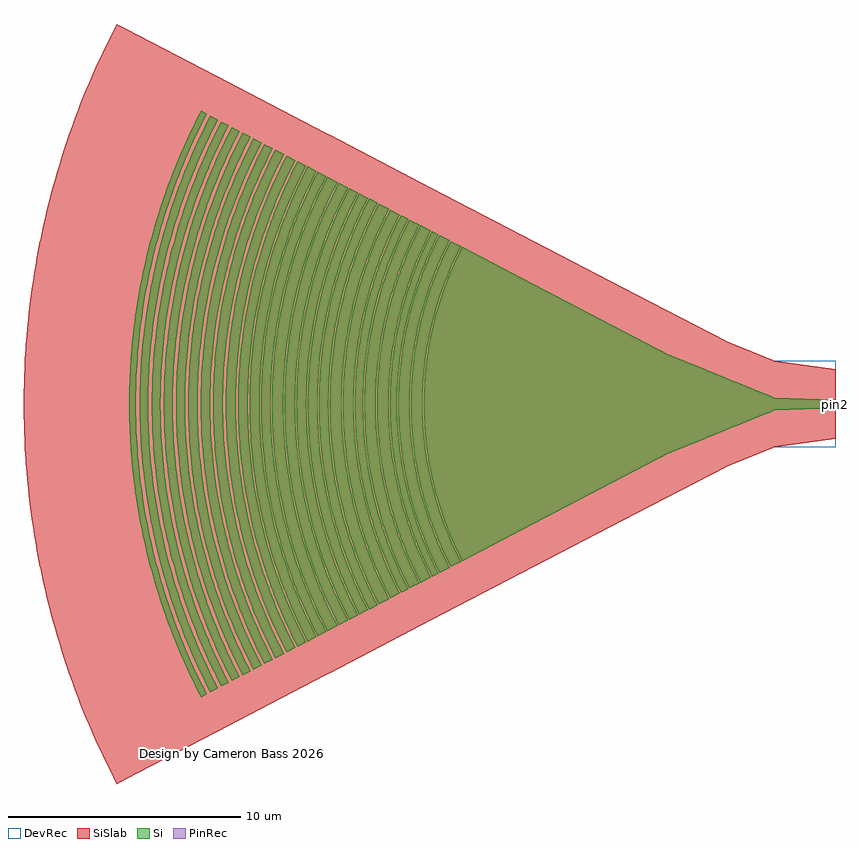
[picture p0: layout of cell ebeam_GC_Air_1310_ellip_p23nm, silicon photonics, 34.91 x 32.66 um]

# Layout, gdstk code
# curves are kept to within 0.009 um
import gdstk
lib = gdstk.Library(unit=1e-6, precision=1e-09)
def P(c, l, *ps):  # polygons
    for p in ps: c.add(gdstk.Polygon(p, *l))
Si = (1, 0)
PinRec = (1, 10)
SiSlab = (2, 0)
DevRec = (68, 0)

ebeam_gc_air_1310_ellip_ = lib.new_cell('ebeam_GC_Air_1310_ellip_p23nm')
P(ebeam_gc_air_1310_ellip_, Si, [(-16.058,-6.747),(-16.431,-5.978),(-16.806,-5.061),(-17.035,-4.391),(-17.3,-3.437),(-17.477,-2.605),(-17.604,-1.766),(-17.682,-0.919),(-17.71,-0.071),(-17.682,0.919),(-17.604,1.766),(-17.477,2.606),(-17.3,3.436),(-17.035,4.391),(-16.806,5.061),(-16.431,5.978),(-16.058,6.747),(-7.083,2.078),(-2.648,0.273),(0,0.175),(0,-0.175),(-2.67,-0.279),(-2.837,-0.358),(-3.177,-0.485),(-7.083,-2.078)],
  [(-16.55,-7.002),(-16.934,-6.208),(-17.272,-5.393),(-17.561,-4.56),(-17.801,-3.712),(-17.993,-2.85),(-18.133,-1.979),(-18.232,-0.956),(-18.262,-0.073),(-18.241,0.808),(-18.151,1.834),(-18.02,2.706),(-17.836,3.568),(-17.727,3.996),(-17.561,4.56),(-17.272,5.393),(-16.934,6.208),(-16.55,7.003),(-16.106,6.772),(-16.48,6),(-16.807,5.213),(-17.086,4.408),(-17.319,3.587),(-17.418,3.173),(-17.529,2.616),(-17.657,1.772),(-17.744,0.782),(-17.764,0.071),(-17.744,-0.782),(-17.657,-1.772),(-17.529,-2.615),(-17.353,-3.45),(-17.086,-4.408),(-16.807,-5.213),(-16.48,-6),(-16.106,-6.772)],
  [(-17.031,-7.253),(-17.428,-6.432),(-17.777,-5.588),(-18.077,-4.725),(-18.326,-3.846),(-18.524,-2.953),(-18.669,-2.051),(-18.762,-1.142),(-18.789,-0.685),(-18.803,-0.076),(-18.781,0.837),(-18.737,1.445),(-18.688,1.9),(-18.552,2.803),(-18.464,3.252),(-18.326,3.846),(-18.077,4.725),(-17.778,5.588),(-17.428,6.432),(-17.031,7.253),(-16.597,7.028),(-16.983,6.231),(-17.322,5.413),(-17.612,4.577),(-17.89,3.581),(-18.072,2.716),(-18.205,1.84),(-18.286,0.958),(-18.316,0.074),(-18.295,-0.811),(-18.205,-1.84),(-18.072,-2.716),(-17.89,-3.581),(-17.656,-4.435),(-17.373,-5.275),(-17.043,-6.096),(-16.597,-7.028)],
  [(-17.351,-7.42),(-17.56,-7.005),(-17.82,-6.438),(-18.17,-5.571),(-18.421,-4.834),(-18.676,-3.935),(-18.879,-3.021),(-18.96,-2.561),(-19.047,-1.944),(-19.133,-1.012),(-19.164,-0.078),(-19.142,0.857),(-19.047,1.944),(-18.907,2.868),(-18.713,3.783),(-18.467,4.685),(-18.17,5.571),(-17.757,6.581),(-17.351,7.42),(-17.079,7.278),(-17.539,6.315),(-17.773,5.75),(-17.933,5.321),(-18.082,4.887),(-18.26,4.302),(-18.379,3.859),(-18.517,3.263),(-18.68,2.36),(-18.776,1.602),(-18.835,0.841),(-18.857,0.077),(-18.842,-0.688),(-18.791,-1.45),(-18.68,-2.36),(-18.547,-3.113),(-18.451,-3.562),(-18.301,-4.154),(-18.174,-4.595),(-17.984,-5.176),(-17.773,-5.75),(-17.539,-6.315),(-17.079,-7.278)],
  [(-17.847,-7.678),(-18.266,-6.81),(-18.518,-6.218),(-18.693,-5.766),(-19.001,-4.849),(-19.255,-3.915),(-19.456,-2.968),(-19.6,-2.012),(-19.689,-1.047),(-19.722,-0.08),(-19.698,0.887),(-19.619,1.852),(-19.484,2.81),(-19.363,3.444),(-19.255,3.915),(-19.001,4.849),(-18.693,5.766),(-18.266,6.811),(-17.847,7.678),(-17.399,7.445),(-17.87,6.461),(-18.165,5.737),(-18.473,4.85),(-18.729,3.948),(-18.837,3.491),(-18.96,2.878),(-19.1,1.95),(-19.164,1.328),(-19.196,0.86),(-19.218,0.078),(-19.196,-0.86),(-19.164,-1.328),(-19.1,-1.95),(-18.96,-2.878),(-18.766,-3.796),(-18.473,-4.85),(-18.164,-5.737),(-17.806,-6.604),(-17.399,-7.445)],
  [(-18.327,-7.928),(-18.76,-7.032),(-19.02,-6.42),(-19.2,-5.954),(-19.519,-5.007),(-19.781,-4.043),(-19.988,-3.065),(-20.138,-2.077),(-20.229,-1.083),(-20.263,-0.083),(-20.239,0.916),(-20.157,1.911),(-20.017,2.901),(-19.82,3.881),(-19.657,4.527),(-19.519,5.007),(-19.2,5.954),(-19.02,6.42),(-18.76,7.033),(-18.327,7.928),(-17.896,7.704),(-18.317,6.834),(-18.688,5.937),(-18.906,5.327),(-19.054,4.865),(-19.31,3.928),(-19.51,2.978),(-19.655,2.018),(-19.745,1.051),(-19.778,0.081),(-19.754,-0.89),(-19.674,-1.857),(-19.538,-2.819),(-19.31,-3.927),(-19.054,-4.864),(-18.744,-5.785),(-18.382,-6.686),(-17.896,-7.704)],
  [(-18.689,-8.116),(-19.132,-7.199),(-19.399,-6.572),(-19.583,-6.095),(-19.909,-5.126),(-20.178,-4.138),(-20.39,-3.138),(-20.543,-2.126),(-20.637,-1.107),(-20.671,-0.085),(-20.647,0.937),(-20.563,1.958),(-20.42,2.97),(-20.292,3.64),(-20.178,4.138),(-19.909,5.126),(-19.583,6.095),(-19.201,7.044),(-18.99,7.51),(-18.689,8.116),(-18.375,7.954),(-18.81,7.055),(-19.193,6.13),(-19.522,5.182),(-19.665,4.703),(-19.835,4.056),(-20.042,3.075),(-20.192,2.084),(-20.284,1.085),(-20.318,0.084),(-20.294,-0.919),(-20.229,-1.752),(-20.124,-2.58),(-19.979,-3.403),(-19.874,-3.893),(-19.71,-4.541),(-19.522,-5.182),(-19.364,-5.658),(-19.133,-6.285),(-18.944,-6.749),(-18.67,-7.359),(-18.375,-7.953)],
  [(-19.147,-8.355),(-19.603,-7.412),(-19.878,-6.766),(-20.068,-6.275),(-20.403,-5.277),(-20.638,-4.431),(-20.866,-3.403),(-21.034,-2.363),(-21.112,-1.665),(-21.152,-1.14),(-21.188,-0.088),(-21.178,0.615),(-21.152,1.14),(-21.056,2.189),(-20.898,3.23),(-20.68,4.26),(-20.403,5.277),(-20.068,6.275),(-19.674,7.252),(-19.457,7.731),(-19.147,8.355),(-18.738,8.142),(-19.183,7.222),(-19.575,6.274),(-19.75,5.792),(-19.962,5.141),(-20.233,4.151),(-20.444,3.148),(-20.598,2.133),(-20.692,1.111),(-20.727,0.086),(-20.702,-0.941),(-20.618,-1.963),(-20.474,-2.979),(-20.38,-3.483),(-20.233,-4.151),(-19.962,-5.141),(-19.634,-6.114),(-19.252,-7.066),(-19.04,-7.533),(-18.738,-8.142)],
  [(-19.646,-8.615),(-20.114,-7.645),(-20.529,-6.642),(-20.885,-5.616),(-21.181,-4.571),(-21.416,-3.51),(-21.589,-2.438),(-21.699,-1.357),(-21.73,-0.815),(-21.748,-0.09),(-21.722,0.995),(-21.632,2.079),(-21.481,3.154),(-21.345,3.865),(-21.224,4.395),(-20.939,5.443),(-20.593,6.472),(-20.187,7.48),(-19.963,7.975),(-19.646,8.615),(-19.196,8.381),(-19.653,7.435),(-20.058,6.459),(-20.294,5.796),(-20.456,5.293),(-20.734,4.274),(-20.952,3.24),(-21.11,2.196),(-21.207,1.143),(-21.243,0.088),(-21.238,-0.44),(-21.207,-1.143),(-21.11,-2.195),(-20.952,-3.24),(-20.734,-4.274),(-20.456,-5.292),(-20.294,-5.796),(-20.058,-6.459),(-19.653,-7.435),(-19.196,-8.381)],
  [(-20.061,-8.831),(-20.542,-7.835),(-20.967,-6.807),(-21.333,-5.755),(-21.636,-4.684),(-21.877,-3.597),(-22.054,-2.498),(-22.167,-1.391),(-22.199,-0.835),(-22.217,-0.093),(-22.19,1.02),(-22.099,2.13),(-22.029,2.682),(-21.911,3.415),(-21.68,4.504),(-21.387,5.578),(-21.033,6.633),(-20.617,7.666),(-20.387,8.173),(-20.061,8.831),(-19.698,8.642),(-19.938,8.162),(-20.242,7.503),(-20.585,6.662),(-20.942,5.633),(-21.239,4.584),(-21.474,3.521),(-21.568,2.984),(-21.67,2.265),(-21.77,1.179),(-21.807,0.091),(-21.781,-0.999),(-21.744,-1.542),(-21.67,-2.264),(-21.507,-3.342),(-21.282,-4.408),(-20.995,-5.459),(-20.648,-6.492),(-20.242,-7.502),(-19.938,-8.162),(-19.698,-8.642)],
  [(-20.481,-9.05),(-20.975,-8.028),(-21.411,-6.974),(-21.785,-5.897),(-22.096,-4.8),(-22.227,-4.244),(-22.378,-3.499),(-22.548,-2.371),(-22.653,-1.235),(-22.692,-0.095),(-22.664,1.045),(-22.57,2.183),(-22.411,3.312),(-22.307,3.873),(-22.141,4.615),(-21.841,5.716),(-21.478,6.796),(-21.052,7.854),(-20.735,8.545),(-20.481,9.05),(-20.11,8.857),(-20.593,7.858),(-21.02,6.827),(-21.385,5.772),(-21.595,5.058),(-21.735,4.516),(-21.965,3.425),(-22.132,2.321),(-22.234,1.209),(-22.272,0.093),(-22.245,-1.023),(-22.191,-1.766),(-22.132,-2.32),(-21.965,-3.425),(-21.735,-4.516),(-21.595,-5.058),(-21.385,-5.772),(-21.02,-6.826),(-20.593,-7.858),(-20.11,-8.857)],
  [(-20.916,-9.276),(-21.423,-8.227),(-21.728,-7.51),(-21.939,-6.964),(-22.311,-5.857),(-22.572,-4.919),(-22.706,-4.349),(-22.861,-3.585),(-23.036,-2.43),(-23.143,-1.265),(-23.182,-0.097),(-23.177,0.488),(-23.143,1.265),(-23.036,2.43),(-22.861,3.586),(-22.618,4.729),(-22.311,5.857),(-21.939,6.965),(-21.502,8.049),(-21.176,8.757),(-20.916,9.276),(-20.534,9.077),(-21.03,8.05),(-21.468,6.994),(-21.843,5.913),(-22.007,5.366),(-22.201,4.627),(-22.437,3.509),(-22.608,2.378),(-22.713,1.238),(-22.752,0.096),(-22.741,-0.667),(-22.713,-1.238),(-22.608,-2.377),(-22.437,-3.509),(-22.201,-4.627),(-22.007,-5.366),(-21.843,-5.913),(-21.468,-6.994),(-21.03,-8.05),(-20.534,-9.077)],
  [(-21.367,-9.511),(-21.72,-8.8),(-21.967,-8.253),(-22.415,-7.142),(-22.797,-6.006),(-23.112,-4.85),(-23.361,-3.677),(-23.54,-2.492),(-23.65,-1.297),(-23.679,-0.699),(-23.69,-0.1),(-23.685,0.5),(-23.65,1.298),(-23.54,2.492),(-23.361,3.677),(-23.112,4.849),(-22.797,6.006),(-22.415,7.142),(-21.967,8.254),(-21.72,8.8),(-21.367,9.511),(-20.964,9.301),(-21.473,8.249),(-21.922,7.167),(-22.306,6.059),(-22.474,5.498),(-22.672,4.741),(-22.802,4.17),(-22.914,3.595),(-23.09,2.436),(-23.197,1.269),(-23.226,0.684),(-23.237,0.098),(-23.209,-1.074),(-23.152,-1.854),(-23.09,-2.436),(-22.914,-3.595),(-22.672,-4.742),(-22.474,-5.498),(-22.306,-6.059),(-21.922,-7.166),(-21.473,-8.249),(-20.964,-9.301)],
  [(-21.855,-9.764),(-22.127,-9.222),(-22.469,-8.476),(-22.929,-7.334),(-23.261,-6.364),(-23.596,-5.18),(-23.782,-4.38),(-23.9,-3.776),(-24.084,-2.559),(-24.197,-1.333),(-24.227,-0.718),(-24.238,-0.102),(-24.209,1.128),(-24.108,2.356),(-24.001,3.168),(-23.9,3.776),(-23.782,4.38),(-23.645,4.98),(-23.492,5.577),(-23.321,6.168),(-23.134,6.754),(-22.929,7.335),(-22.63,8.099),(-22.386,8.664),(-22.127,9.222),(-21.855,9.765),(-21.415,9.536),(-21.936,8.458),(-22.396,7.349),(-22.79,6.213),(-23.016,5.445),(-23.166,4.863),(-23.299,4.276),(-23.414,3.687),(-23.594,2.498),(-23.658,1.901),(-23.704,1.302),(-23.745,0.1),(-23.716,-1.102),(-23.658,-1.901),(-23.594,-2.498),(-23.414,-3.687),(-23.166,-4.863),(-22.849,-6.022),(-22.466,-7.161),(-22.017,-8.276),(-21.769,-8.823),(-21.415,-9.536)],
  [(-22.269,-9.98),(-22.547,-9.425),(-22.897,-8.663),(-23.367,-7.496),(-23.768,-6.304),(-24.099,-5.09),(-24.281,-4.272),(-24.359,-3.859),(-24.462,-3.239),(-24.547,-2.615),(-24.663,-1.363),(-24.705,-0.105),(-24.675,1.153),(-24.572,2.407),(-24.493,3.031),(-24.396,3.653),(-24.281,4.272),(-24.099,5.09),(-23.768,6.304),(-23.576,6.903),(-23.367,7.496),(-23.14,8.084),(-22.897,8.663),(-22.547,9.425),(-22.269,9.98),(-21.903,9.79),(-22.264,9.06),(-22.519,8.499),(-22.834,7.738),(-23.05,7.16),(-23.25,6.577),(-23.489,5.79),(-23.649,5.193),(-23.835,4.391),(-24.054,3.176),(-24.183,2.157),(-24.263,1.131),(-24.293,0.103),(-24.287,-0.515),(-24.263,-1.131),(-24.183,-2.157),(-24.054,-3.177),(-23.835,-4.391),(-23.649,-5.193),(-23.489,-5.789),(-23.25,-6.576),(-23.05,-7.16),(-22.834,-7.738),(-22.519,-8.498),(-22.264,-9.06),(-21.903,-9.79)],
  [(-22.703,-10.206),(-22.989,-9.637),(-23.26,-9.053),(-23.515,-8.463),(-23.753,-7.865),(-23.972,-7.261),(-24.174,-6.65),(-24.416,-5.827),(-24.576,-5.204),(-24.719,-4.577),(-24.842,-3.946),(-24.948,-3.312),(-25.035,-2.674),(-25.103,-2.034),(-25.153,-1.392),(-25.184,-0.751),(-25.196,-0.107),(-25.19,0.536),(-25.165,1.179),(-25.122,1.821),(-25.06,2.461),(-24.979,3.099),(-24.88,3.735),(-24.762,4.368),(-24.576,5.204),(-24.416,5.827),(-24.237,6.446),(-23.828,7.665),(-23.596,8.265),(-23.347,8.858),(-22.989,9.637),(-22.703,10.206),(-22.32,10.007),(-22.69,9.26),(-22.951,8.686),(-23.273,7.908),(-23.493,7.318),(-23.762,6.521),(-23.942,5.917),(-24.106,5.307),(-24.296,4.488),(-24.487,3.455),(-24.63,2.413),(-24.721,1.365),(-24.752,0.736),(-24.764,0.105),(-24.744,-0.946),(-24.652,-2.204),(-24.52,-3.246),(-24.337,-4.283),(-24.205,-4.899),(-23.999,-5.714),(-23.762,-6.521),(-23.563,-7.12),(-23.273,-7.908),(-22.951,-8.686),(-22.69,-9.26),(-22.32,-10.007)],
  [(-23.135,-10.431),(-23.525,-9.647),(-23.796,-9.048),(-24.05,-8.443),(-24.288,-7.829),(-24.642,-6.793),(-24.83,-6.163),(-25,-5.529),(-25.285,-4.246),(-25.399,-3.599),(-25.494,-2.949),(-25.57,-2.296),(-25.642,-1.423),(-25.674,-0.767),(-25.686,-0.109),(-25.68,0.547),(-25.655,1.204),(-25.61,1.86),(-25.547,2.514),(-25.464,3.166),(-25.325,4.031),(-25.198,4.676),(-25.052,5.316),(-24.888,5.953),(-24.706,6.584),(-24.506,7.21),(-24.288,7.83),(-23.796,9.048),(-23.525,9.647),(-23.135,10.431),(-22.768,10.241),(-23.148,9.472),(-23.501,8.688),(-23.745,8.09),(-23.97,7.486),(-24.245,6.671),(-24.43,6.053),(-24.649,5.22),(-24.792,4.591),(-24.988,3.534),(-25.081,2.896),(-25.156,2.255),(-25.239,1.183),(-25.271,0.108),(-25.25,-0.968),(-25.156,-2.255),(-24.988,-3.534),(-24.792,-4.591),(-24.649,-5.22),(-24.43,-6.053),(-24.245,-6.671),(-23.97,-7.486),(-23.745,-8.09),(-23.415,-8.885),(-23.148,-9.472),(-22.768,-10.24)],
  [(-23.604,-10.676),(-23.909,-10.069),(-24.193,-9.461),(-24.544,-8.636),(-24.787,-8.009),(-25.149,-6.949),(-25.342,-6.304),(-25.516,-5.656),(-25.671,-5.001),(-25.807,-4.343),(-25.959,-3.459),(-26.05,-2.794),(-26.121,-2.125),(-26.173,-1.456),(-26.206,-0.784),(-26.219,-0.112),(-26.212,0.561),(-26.186,1.232),(-26.141,1.903),(-26.076,2.572),(-25.991,3.238),(-25.887,3.903),(-25.719,4.783),(-25.569,5.438),(-25.402,6.089),(-25.215,6.735),(-25.01,7.375),(-24.787,8.009),(-24.544,8.636),(-24.284,9.255),(-24.006,9.868),(-23.604,10.676),(-23.226,10.479),(-23.523,9.887),(-23.891,9.088),(-24.228,8.275),(-24.459,7.657),(-24.673,7.033),(-24.93,6.191),(-25.154,5.339),(-25.3,4.696),(-25.501,3.614),(-25.65,2.524),(-25.713,1.868),(-25.758,1.21),(-25.79,0.11),(-25.769,-0.99),(-25.731,-1.648),(-25.673,-2.306),(-25.535,-3.397),(-25.3,-4.696),(-25.154,-5.34),(-24.93,-6.191),(-24.673,-7.032),(-24.459,-7.656),(-24.228,-8.275),(-23.891,-9.088),(-23.523,-9.887),(-23.226,-10.479)],
  [(-24.087,-10.927),(-24.598,-9.887),(-24.965,-9.046),(-25.219,-8.407),(-25.455,-7.762),(-25.671,-7.108),(-25.868,-6.449),(-26.046,-5.786),(-26.205,-5.116),(-26.345,-4.443),(-26.5,-3.539),(-26.593,-2.858),(-26.666,-2.174),(-26.719,-1.489),(-26.753,-0.802),(-26.766,-0.114),(-26.759,0.574),(-26.733,1.26),(-26.686,1.946),(-26.593,2.859),(-26.5,3.539),(-26.387,4.218),(-26.254,4.893),(-26.101,5.563),(-25.93,6.229),(-25.739,6.89),(-25.529,7.544),(-25.3,8.193),(-25.051,8.835),(-24.785,9.468),(-24.402,10.301),(-24.087,10.927),(-23.714,10.733),(-24.021,10.121),(-24.398,9.303),(-24.744,8.47),(-24.98,7.838),(-25.199,7.199),(-25.462,6.337),(-25.692,5.465),(-25.841,4.807),(-25.971,4.144),(-26.082,3.477),(-26.224,2.361),(-26.311,1.238),(-26.344,0.113),(-26.322,-1.013),(-26.224,-2.361),(-26.082,-3.477),(-25.886,-4.586),(-25.744,-5.247),(-25.523,-6.12),(-25.335,-6.769),(-25.055,-7.626),(-24.825,-8.261),(-24.488,-9.096),(-24.118,-9.917),(-23.714,-10.733)],
  [(-24.557,-11.172),(-24.881,-10.529),(-25.178,-9.892),(-25.457,-9.246),(-25.799,-8.374),(-26.033,-7.711),(-26.248,-7.042),(-26.443,-6.367),(-26.619,-5.686),(-26.823,-4.772),(-26.911,-4.311),(-27.026,-3.618),(-27.121,-2.922),(-27.196,-2.222),(-27.251,-1.521),(-27.285,-0.82),(-27.298,-0.117),(-27.285,0.82),(-27.251,1.522),(-27.196,2.223),(-27.121,2.922),(-27.026,3.617),(-26.911,4.311),(-26.775,5.001),(-26.619,5.686),(-26.443,6.367),(-26.179,7.266),(-25.958,7.933),(-25.717,8.593),(-25.457,9.247),(-25.178,9.891),(-24.881,10.529),(-24.557,11.172),(-24.195,10.984),(-24.612,10.145),(-24.899,9.516),(-25.252,8.665),(-25.494,8.017),(-25.789,7.144),(-25.987,6.483),(-26.167,5.814),(-26.375,4.917),(-26.586,3.785),(-26.742,2.643),(-26.843,1.496),(-26.876,0.806),(-26.889,0.115),(-26.867,-1.036),(-26.789,-2.185),(-26.655,-3.33),(-26.548,-4.012),(-26.421,-4.691),(-26.222,-5.591),(-26.049,-6.26),(-25.789,-7.144),(-25.571,-7.801),(-25.252,-8.665),(-24.899,-9.516),(-24.612,-10.145),(-24.195,-10.984)],
  [(-25.03,-11.418),(-25.362,-10.759),(-25.666,-10.108),(-25.95,-9.449),(-26.216,-8.781),(-26.462,-8.107),(-26.688,-7.425),(-26.895,-6.736),(-27.081,-6.043),(-27.246,-5.344),(-27.393,-4.64),(-27.517,-3.934),(-27.622,-3.223),(-27.705,-2.509),(-27.768,-1.794),(-27.819,-0.838),(-27.833,-0.12),(-27.826,0.599),(-27.798,1.316),(-27.749,2.033),(-27.68,2.748),(-27.589,3.46),(-27.437,4.405),(-27.298,5.111),(-27.138,5.81),(-26.959,6.506),(-26.759,7.197),(-26.54,7.88),(-26.301,8.557),(-26.041,9.228),(-25.666,10.108),(-25.362,10.759),(-25.03,11.418),(-24.675,11.234),(-25.001,10.586),(-25.396,9.73),(-25.757,8.86),(-26.005,8.198),(-26.234,7.53),(-26.509,6.629),(-26.693,5.945),(-26.906,5.028),(-27.042,4.335),(-27.158,3.637),(-27.306,2.47),(-27.398,1.295),(-27.432,0.118),(-27.425,-0.589),(-27.398,-1.295),(-27.306,-2.469),(-27.158,-3.637),(-27.042,-4.335),(-26.905,-5.028),(-26.693,-5.945),(-26.509,-6.628),(-26.234,-7.53),(-26.005,-8.198),(-25.67,-9.079),(-25.396,-9.73),(-25.001,-10.586),(-24.675,-11.233)],
  [(-25.492,-11.658),(-25.831,-10.985),(-26.141,-10.321),(-26.524,-9.421),(-26.789,-8.737),(-27.034,-8.045),(-27.258,-7.347),(-27.586,-6.17),(-27.808,-5.218),(-27.949,-4.498),(-28.07,-3.774),(-28.169,-3.048),(-28.247,-2.319),(-28.304,-1.587),(-28.339,-0.856),(-28.354,-0.122),(-28.339,0.856),(-28.304,1.587),(-28.247,2.319),(-28.169,3.048),(-28.07,3.774),(-27.949,4.498),(-27.808,5.218),(-27.644,5.932),(-27.461,6.643),(-27.258,7.347),(-27.034,8.045),(-26.789,8.737),(-26.524,9.421),(-26.141,10.32),(-25.831,10.985),(-25.492,11.658),(-25.149,11.48),(-25.587,10.6),(-25.886,9.943),(-26.256,9.053),(-26.509,8.377),(-26.817,7.465),(-27.024,6.774),(-27.27,5.842),(-27.43,5.138),(-27.65,3.955),(-27.755,3.24),(-27.839,2.524),(-27.932,1.324),(-27.967,0.121),(-27.944,-1.083),(-27.902,-1.803),(-27.839,-2.523),(-27.755,-3.24),(-27.65,-3.954),(-27.429,-5.137),(-27.27,-5.841),(-27.024,-6.773),(-26.817,-7.465),(-26.509,-8.377),(-26.256,-9.053),(-25.886,-9.943),(-25.587,-10.6),(-25.149,-11.48)],
  [(-25.957,-11.9),(-26.303,-11.213),(-26.62,-10.534),(-26.916,-9.848),(-27.193,-9.152),(-27.45,-8.449),(-27.686,-7.738),(-27.901,-7.021),(-28.095,-6.298),(-28.267,-5.57),(-28.466,-4.591),(-28.588,-3.852),(-28.69,-3.111),(-28.77,-2.367),(-28.828,-1.62),(-28.864,-0.873),(-28.878,-0.125),(-28.864,0.873),(-28.828,1.62),(-28.77,2.367),(-28.69,3.112),(-28.588,3.853),(-28.466,4.591),(-28.321,5.326),(-28.095,6.298),(-27.901,7.021),(-27.686,7.738),(-27.45,8.448),(-27.193,9.152),(-26.916,9.848),(-26.62,10.534),(-26.303,11.213),(-25.957,11.901),(-25.619,11.725),(-25.96,11.048),(-26.372,10.155),(-26.749,9.246),(-27.008,8.555),(-27.247,7.858),(-27.535,6.918),(-27.726,6.205),(-27.949,5.247),(-28.173,4.039),(-28.34,2.821),(-28.412,2.087),(-28.462,1.352),(-28.498,0.123),(-28.49,-0.615),(-28.462,-1.352),(-28.366,-2.577),(-28.211,-3.796),(-28.09,-4.523),(-27.949,-5.247),(-27.785,-5.967),(-27.535,-6.917),(-27.247,-7.858),(-27.008,-8.555),(-26.658,-9.475),(-26.372,-10.154),(-25.96,-11.047),(-25.619,-11.725)],
  [(-26.416,-12.139),(-26.769,-11.438),(-27.092,-10.746),(-27.491,-9.81),(-27.767,-9.097),(-28.021,-8.377),(-28.255,-7.65),(-28.596,-6.425),(-28.772,-5.681),(-28.928,-4.933),(-29.061,-4.182),(-29.171,-3.426),(-29.26,-2.667),(-29.327,-1.907),(-29.381,-0.891),(-29.396,-0.127),(-29.388,0.636),(-29.359,1.399),(-29.307,2.161),(-29.233,2.922),(-29.137,3.678),(-28.975,4.683),(-28.827,5.433),(-28.657,6.177),(-28.467,6.917),(-28.255,7.651),(-28.021,8.377),(-27.767,9.097),(-27.491,9.81),(-27.092,10.746),(-26.769,11.438),(-26.416,12.139),(-26.088,11.969),(-26.545,11.051),(-26.857,10.366),(-27.149,9.671),(-27.42,8.97),(-27.671,8.26),(-27.974,7.302),(-28.239,6.334),(-28.413,5.602),(-28.565,4.865),(-28.696,4.123),(-28.866,2.88),(-28.976,1.63),(-29.012,0.878),(-29.027,0.126),(-29.019,-0.628),(-28.99,-1.38),(-28.893,-2.631),(-28.805,-3.378),(-28.696,-4.123),(-28.565,-4.865),(-28.413,-5.602),(-28.239,-6.334),(-27.974,-7.303),(-27.671,-8.26),(-27.42,-8.969),(-27.149,-9.671),(-26.857,-10.366),(-26.545,-11.051),(-26.088,-11.969)],
  [(-26.886,-12.384),(-27.238,-11.683),(-27.568,-10.976),(-27.877,-10.261),(-28.257,-9.292),(-28.516,-8.557),(-28.754,-7.815),(-28.97,-7.065),(-29.165,-6.309),(-29.338,-5.549),(-29.488,-4.784),(-29.616,-4.015),(-29.722,-3.242),(-29.804,-2.466),(-29.865,-1.688),(-29.903,-0.91),(-29.918,-0.13),(-29.903,0.91),(-29.865,1.688),(-29.804,2.466),(-29.722,3.242),(-29.616,4.014),(-29.488,4.784),(-29.338,5.55),(-29.165,6.309),(-28.97,7.065),(-28.754,7.815),(-28.516,8.557),(-28.257,9.293),(-27.877,10.261),(-27.568,10.976),(-27.238,11.684),(-26.886,12.385),(-26.555,12.213),(-27.021,11.276),(-27.34,10.577),(-27.733,9.63),(-28.002,8.911),(-28.33,7.941),(-28.55,7.205),(-28.75,6.463),(-28.982,5.465),(-29.216,4.207),(-29.39,2.938),(-29.464,2.174),(-29.516,1.408),(-29.554,0.128),(-29.529,-1.152),(-29.484,-1.918),(-29.417,-2.684),(-29.256,-3.953),(-29.129,-4.712),(-28.982,-5.465),(-28.75,-6.462),(-28.55,-7.205),(-28.33,-7.941),(-28.002,-8.911),(-27.733,-9.63),(-27.34,-10.577),(-27.021,-11.276),(-26.555,-12.212)],
  [(-27.284,-12.592),(-27.65,-11.863),(-27.985,-11.146),(-28.398,-10.175),(-28.684,-9.436),(-29.111,-8.187),(-29.338,-7.428),(-29.543,-6.664),(-29.725,-5.893),(-29.886,-5.117),(-30.024,-4.337),(-30.139,-3.554),(-30.256,-2.504),(-30.312,-1.796),(-30.356,-0.924),(-30.371,-0.132),(-30.363,0.659),(-30.333,1.451),(-30.279,2.242),(-30.172,3.292),(-30.065,4.076),(-29.935,4.858),(-29.782,5.635),(-29.606,6.407),(-29.409,7.174),(-29.189,7.935),(-28.948,8.689),(-28.684,9.436),(-28.398,10.175),(-27.985,11.146),(-27.65,11.864),(-27.284,12.592),(-27.034,12.462),(-27.501,11.52),(-27.826,10.806),(-28.227,9.839),(-28.502,9.104),(-28.756,8.362),(-29.062,7.361),(-29.265,6.603),(-29.446,5.84),(-29.604,5.071),(-29.74,4.298),(-29.917,3.002),(-30.032,1.699),(-30.07,0.915),(-30.085,0.131),(-30.06,-1.177),(-30.014,-1.96),(-29.945,-2.742),(-29.854,-3.521),(-29.74,-4.298),(-29.604,-5.071),(-29.446,-5.839),(-29.265,-6.603),(-29.062,-7.361),(-28.836,-8.113),(-28.502,-9.104),(-28.227,-9.839),(-27.826,-10.806),(-27.501,-11.52),(-27.034,-12.462)])
P(ebeam_gc_air_1310_ellip_, SiSlab, [(-30.904,-16.329),(-31.366,-15.41),(-31.801,-14.477),(-32.208,-13.533),(-32.588,-12.577),(-32.94,-11.61),(-33.264,-10.634),(-33.559,-9.648),(-33.825,-8.655),(-34.062,-7.654),(-34.27,-6.647),(-34.449,-5.634),(-34.598,-4.616),(-34.717,-3.594),(-34.807,-2.569),(-34.867,-1.543),(-34.9,-0.171),(-34.89,0.857),(-34.85,1.885),(-34.781,2.912),(-34.681,3.935),(-34.552,4.956),(-34.393,5.972),(-34.135,7.319),(-33.907,8.322),(-33.651,9.318),(-33.365,10.307),(-33.051,11.286),(-32.709,12.256),(-32.338,13.216),(-31.94,14.164),(-31.366,15.41),(-30.904,16.329),(-4.744,2.708),(-2.65,1.855),(0,1.5),(0,-1.5),(-2.65,-1.855),(-4.728,-2.7)])
P(ebeam_gc_air_1310_ellip_, DevRec, [(-30.904,-16.329),(-31.366,-15.41),(-31.801,-14.477),(-32.208,-13.533),(-32.588,-12.577),(-32.94,-11.61),(-33.264,-10.634),(-33.559,-9.648),(-33.825,-8.655),(-34.062,-7.654),(-34.27,-6.647),(-34.449,-5.634),(-34.598,-4.616),(-34.717,-3.594),(-34.807,-2.569),(-34.867,-1.543),(-34.9,-0.171),(-34.89,0.857),(-34.85,1.885),(-34.781,2.912),(-34.681,3.935),(-34.552,4.956),(-34.393,5.972),(-34.135,7.319),(-33.907,8.322),(-33.651,9.318),(-33.365,10.307),(-33.051,11.286),(-32.709,12.256),(-32.338,13.216),(-31.94,14.164),(-31.366,15.41),(-30.904,16.329),(-4.744,2.708),(-2.65,1.855),(0,1.855),(0,-1.855),(-2.65,-1.855),(-4.728,-2.7)])
ebeam_gc_air_1310_ellip_.add(gdstk.FlexPath([(-0.01,0),(0.01,0)], 0.35, ends="flush", simple_path=True, layer=1, datatype=10))  # PinRec
ebeam_gc_air_1310_ellip_.add(gdstk.Label('pin2', (0,0), layer=1, texttype=10))
ebeam_gc_air_1310_ellip_.add(gdstk.Label('Design by Cameron Bass 2026', (-25.94,-15.02), layer=10, texttype=0))

lib.write_gds('ebeam_GC_Air_1310_ellip_p23nm.gds')
